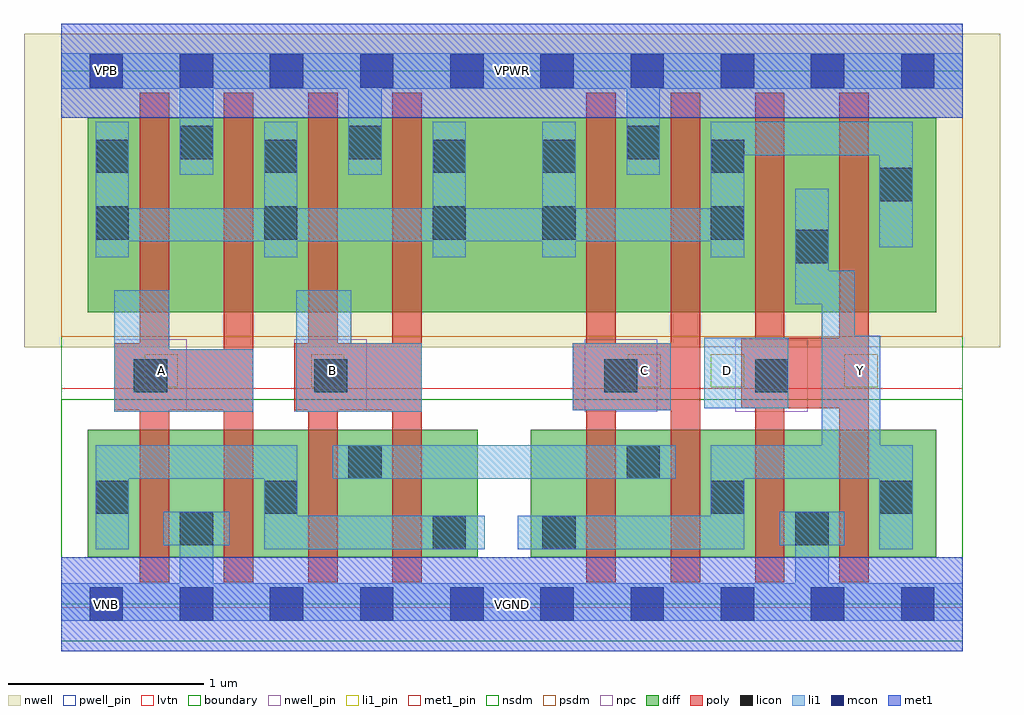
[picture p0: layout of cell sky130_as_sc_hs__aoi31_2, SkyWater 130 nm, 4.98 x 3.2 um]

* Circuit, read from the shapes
.subckt sky130_as_sc_hs__aoi31_2 A B C D VGND VNB VPB VPWR Y
XM1 VGND A n1 VNB sky130_fd_pr__nfet_01v8_lvt w=0.65 l=0.15 m=2
XM2 n2 B n1 VNB sky130_fd_pr__nfet_01v8_lvt w=0.65 l=0.15 m=2
XM3 n2 C Y VNB sky130_fd_pr__nfet_01v8_lvt w=0.65 l=0.15 m=2
XM4 VGND D Y VNB sky130_fd_pr__nfet_01v8_lvt w=0.65 l=0.15 m=2
XM5 VPWR A n3 VPB sky130_fd_pr__pfet_01v8 w=0.99 l=0.15 m=2
XM6 VPWR B n3 VPB sky130_fd_pr__pfet_01v8 w=0.99 l=0.15 m=2
XM7 VPWR C n3 VPB sky130_fd_pr__pfet_01v8 w=0.99 l=0.15 m=2
XM8 Y D n3 VPB sky130_fd_pr__pfet_01v8 w=0.99 l=0.15 m=2
.ends

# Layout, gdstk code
import gdstk
lib = gdstk.Library(unit=1e-6, precision=1e-09)
def R(c, l, rs):  # rectangles x0, y0, x1, y1
    for r in rs: c.add(gdstk.rectangle(r[:2], r[2:], *l))
def A(c, l, x, y, w, h, nx, ny, dx, dy):  # array of equal rectangles
    R(c, l, [(x+i*dx, y+j*dy, x+i*dx+w, y+j*dy+h) for i in range(nx) for j in range(ny)])
nwell_pin = (64, 16)
nwell = (64, 20)
diff = (65, 20)
poly = (66, 20)
licon = (66, 44)
li1_pin = (67, 16)
li1 = (67, 20)
mcon = (67, 44)
met1_pin = (68, 16)
met1 = (68, 20)
nsdm = (93, 44)
psdm = (94, 20)
npc = (95, 20)
pwell_pin = (122, 16)
lvtn = (125, 44)
boundary = (235, 4)

sky130_as_sc_hs__aoi31_2 = lib.new_cell('sky130_as_sc_hs__aoi31_2')
R(sky130_as_sc_hs__aoi31_2, nwell_pin, [(0.145,2.635,0.315,2.805)])
R(sky130_as_sc_hs__aoi31_2, nwell, [(-0.19,1.31,4.79,2.91)])
R(sky130_as_sc_hs__aoi31_2, diff, [(0.135,0.24,2.125,0.89), (2.395,0.24,4.465,0.89), (0.135,1.49,4.465,2.48)])
A(sky130_as_sc_hs__aoi31_2, poly, 0.4, 0.11, 0.15, 0.88, 4, 1, 0.43, 0)
R(sky130_as_sc_hs__aoi31_2, poly, [(2.68,0.11,2.83,0.99), (3.11,0.11,3.26,0.99), (3.54,0.11,3.69,1), (3.97,0.11,4.12,1), (0.27,0.99,0.98,1.3), (1.19,0.99,1.84,1.33), (2.61,0.99,3.26,1.33), (3.47,1,4.12,1.36), (0.27,1.3,0.55,1.33), (0.83,1.3,0.98,2.61), (0.4,1.33,0.55,2.61), (1.26,1.33,1.41,2.61), (1.69,1.33,1.84,2.61), (2.68,1.33,2.83,2.61), (3.11,1.33,3.26,2.61), (3.54,1.36,3.69,2.61), (3.97,1.36,4.12,2.61)])
A(sky130_as_sc_hs__aoi31_2, licon, 0.175, 1.86, 0.17, 0.17, 3, 2, 0.86, 0.34)
R(sky130_as_sc_hs__aoi31_2, licon, [(1.895,0.28,2.065,0.45), (2.455,0.28,2.625,0.45), (0.605,0.3,0.775,0.47), (3.745,0.3,3.915,0.47), (0.175,0.46,0.345,0.63), (1.035,0.46,1.205,0.63), (3.315,0.46,3.485,0.63), (4.175,0.46,4.345,0.63), (1.465,0.64,1.635,0.81), (2.885,0.64,3.055,0.81), (0.37,1.08,0.54,1.25), (1.29,1.08,1.46,1.25), (2.77,1.08,2.94,1.25), (3.54,1.08,3.71,1.25), (3.745,1.74,3.915,1.91), (2.455,1.86,2.625,2.03), (3.315,1.86,3.485,2.03), (4.175,2.055,4.345,2.225), (2.455,2.2,2.625,2.37), (3.315,2.2,3.485,2.37), (0.605,2.27,0.775,2.44), (1.465,2.27,1.635,2.44), (2.885,2.27,3.055,2.44)])
R(sky130_as_sc_hs__aoi31_2, li1_pin, [(0.425,1.105,0.595,1.275), (1.275,1.105,1.445,1.275), (2.89,1.105,3.06,1.275), (3.315,1.105,3.485,1.275), (3.995,1.105,4.165,1.275)])
A(sky130_as_sc_hs__aoi31_2, li1, 0.175, 1.77, 0.17, 0.08, 3, 1, 0.86, 0)
A(sky130_as_sc_hs__aoi31_2, li1, 0.175, 2.02, 0.17, 0.44, 3, 1, 0.86, 0)
R(sky130_as_sc_hs__aoi31_2, li1, [(0,-0.085,4.6,0.105), (0.605,0.105,0.775,0.3), (3.745,0.105,3.915,0.3), (0.175,0.28,0.345,0.64), (1.035,0.28,2.16,0.45), (2.33,0.28,3.485,0.45), (4.175,0.28,4.345,0.64), (0.52,0.3,0.86,0.47), (3.665,0.3,3.995,0.47), (1.035,0.45,1.205,0.64), (3.315,0.45,3.485,0.64), (0.175,0.64,1.205,0.81), (1.385,0.64,3.135,0.81), (3.315,0.64,4.345,0.81), (3.88,0.81,4.18,1.37), (0.27,0.98,0.98,1.3), (1.2,0.98,1.84,1.33), (2.61,0.99,3.11,1.33), (3.28,1,3.71,1.36), (0.27,1.3,0.55,1.6), (1.2,1.33,1.48,1.6), (3.88,1.37,4.05,1.53), (3.745,1.53,4.05,1.7), (3.745,1.7,3.915,2.12), (2.455,1.77,2.625,1.85), (3.315,1.77,3.485,1.85), (4.175,1.82,4.345,2.29), (0.175,1.85,3.485,2.02), (2.455,2.02,2.625,2.46), (3.315,2.02,3.485,2.29), (0.605,2.19,0.775,2.63), (1.465,2.19,1.635,2.63), (2.885,2.19,3.055,2.63), (3.315,2.29,4.345,2.46), (0,2.63,4.6,2.81)])
A(sky130_as_sc_hs__aoi31_2, mcon, 0.145, -0.085, 0.17, 0.17, 10, 2, 0.46, 2.72)
R(sky130_as_sc_hs__aoi31_2, met1_pin, [(0,-0.24,4.6,0.24), (0.145,-0.085,0.315,0.085), (0,2.48,4.6,2.96), (0.145,2.635,0.315,2.805)])
R(sky130_as_sc_hs__aoi31_2, met1, [(0,-0.24,4.6,0.24), (0,2.48,4.6,2.96)])
R(sky130_as_sc_hs__aoi31_2, nsdm, [(0,-0.19,4.6,1.045)])
R(sky130_as_sc_hs__aoi31_2, psdm, [(0,1.365,4.6,2.91)])
R(sky130_as_sc_hs__aoi31_2, npc, [(0.27,0.98,0.64,1.35), (1.19,0.98,1.56,1.35), (2.67,0.98,3.04,1.35), (3.44,0.98,3.81,1.35)])
R(sky130_as_sc_hs__aoi31_2, pwell_pin, [(0.145,-0.085,0.315,0.085)])
R(sky130_as_sc_hs__aoi31_2, lvtn, [(0,-0.02,4.6,1.1)])
R(sky130_as_sc_hs__aoi31_2, boundary, [(0,0,4.6,2.72)])
sky130_as_sc_hs__aoi31_2.add(gdstk.Label('VNB', (0.23,0), layer=64, texttype=59))
sky130_as_sc_hs__aoi31_2.add(gdstk.Label('VPB', (0.23,2.72), layer=64, texttype=5))
sky130_as_sc_hs__aoi31_2.add(gdstk.Label('A', (0.51,1.19), layer=67, texttype=5))
sky130_as_sc_hs__aoi31_2.add(gdstk.Label('B', (1.385,1.19), layer=67, texttype=5))
sky130_as_sc_hs__aoi31_2.add(gdstk.Label('C', (2.975,1.19), layer=67, texttype=5))
sky130_as_sc_hs__aoi31_2.add(gdstk.Label('D', (3.4,1.19), layer=67, texttype=5))
sky130_as_sc_hs__aoi31_2.add(gdstk.Label('Y', (4.08,1.19), layer=67, texttype=5))
sky130_as_sc_hs__aoi31_2.add(gdstk.Label('VNB', (0.23,0), layer=64, texttype=59))
sky130_as_sc_hs__aoi31_2.add(gdstk.Label('VPB', (0.23,2.72), layer=64, texttype=5))
sky130_as_sc_hs__aoi31_2.add(gdstk.Label('VPWR', (2.3,2.72), layer=68, texttype=5))
sky130_as_sc_hs__aoi31_2.add(gdstk.Label('VPWR', (0.23,2.72), layer=68, texttype=5))
sky130_as_sc_hs__aoi31_2.add(gdstk.Label('VGND', (2.3,0), layer=68, texttype=5))
sky130_as_sc_hs__aoi31_2.add(gdstk.Label('VGND', (0.23,0), layer=68, texttype=5))
sky130_as_sc_hs__aoi31_2.add(gdstk.Label('A', (0.51,1.19), layer=67, texttype=5))
sky130_as_sc_hs__aoi31_2.add(gdstk.Label('B', (1.36,1.19), layer=67, texttype=5))
sky130_as_sc_hs__aoi31_2.add(gdstk.Label('C', (2.975,1.19), layer=67, texttype=5))
sky130_as_sc_hs__aoi31_2.add(gdstk.Label('D', (3.4,1.19), layer=67, texttype=5))
sky130_as_sc_hs__aoi31_2.add(gdstk.Label('Y', (4.08,1.19), layer=67, texttype=5))

lib.write_gds('sky130_as_sc_hs__aoi31_2.gds')
